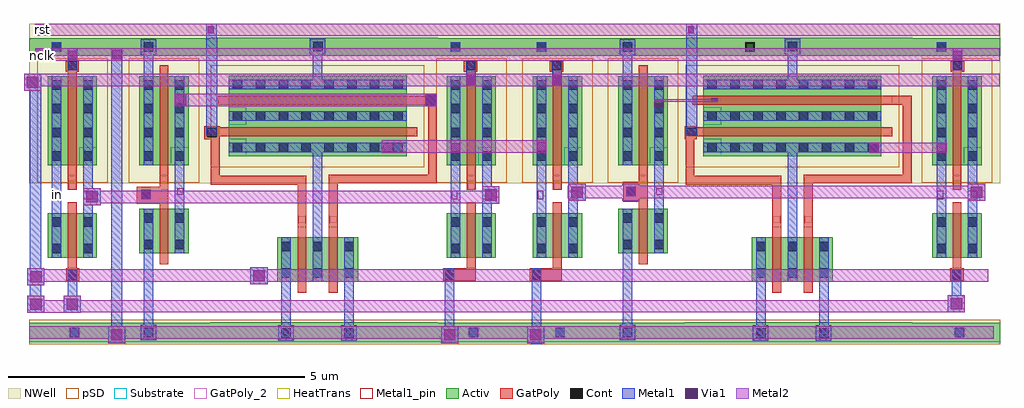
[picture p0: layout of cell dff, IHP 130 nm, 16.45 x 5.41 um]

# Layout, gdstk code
from math import pi, radians
import gdstk
lib = gdstk.Library(unit=1e-6, precision=5e-09)
def R(c, l, rs):  # rectangles x0, y0, x1, y1
    for r in rs: c.add(gdstk.rectangle(r[:2], r[2:], *l))
def A(c, l, x, y, w, h, nx, ny, dx, dy):  # array of equal rectangles
    R(c, l, [(x+i*dx, y+j*dy, x+i*dx+w, y+j*dy+h) for i in range(nx) for j in range(ny)])
Activ = (1, 0)
GatPoly = (5, 0)
GatPoly_2 = (5, 2)
Cont = (6, 0)
Metal1 = (8, 0)
Metal1_pin = (8, 2)
Metal2 = (10, 0)
pSD = (14, 0)
Via1 = (19, 0)
NWell = (31, 0)
Substrate = (40, 0)
HeatTrans = (51, 0)

nmos_5_1 = lib.new_cell('nmos$5$1')
R(nmos_5_1, Activ, [(0,0,0.3,0.3), (0,0,0.83,0.75), (0.53,0,0.83,0.3)])
R(nmos_5_1, GatPoly, [(0.34,-0.18,0.49,0.93)])
R(nmos_5_1, GatPoly_2, [(0.34,-0.18,0.49,0.93)])
R(nmos_5_1, Cont, [(0.07,0.07,0.23,0.23), (0.6,0.07,0.76,0.23), (0.07,0.52,0.23,0.68), (0.6,0.52,0.76,0.68)])
R(nmos_5_1, Metal1, [(0.07,0,0.23,0.75), (0.6,0,0.76,0.75)])
R(nmos_5_1, Metal1_pin, [(0.07,0,0.23,0.75), (0.6,0,0.76,0.75)])
R(nmos_5_1, HeatTrans, [(0.34,-0.18,0.49,0.93)])
nmos_5_1.add(gdstk.Label('nmos', (0.415,0.375), layer=63, texttype=0))
nmos_5_1.add(gdstk.Label('nmos', (0.415,0.375), layer=51, texttype=0))

pmos = lib.new_cell('pmos')
R(pmos, Activ, [(0,0,0.3,0.3), (0,0,0.83,1.5), (0.53,0,0.83,0.3)])
R(pmos, GatPoly, [(0.34,-0.18,0.49,1.68), (0.34,-0.18,0.49,1.68)])
A(pmos, Cont, 0.07, 0.07, 0.16, 0.16, 1, 4, 0, 0.4)
A(pmos, Cont, 0.6, 0.07, 0.16, 0.16, 1, 4, 0, 0.4)
R(pmos, Metal1, [(0.07,0,0.23,1.5), (0.07,0,0.23,1.5), (0.6,0,0.76,1.5), (0.6,0,0.76,1.5)])
R(pmos, pSD, [(-0.18,-0.3,1.01,1.8)])
R(pmos, NWell, [(-0.31,-0.31,1.14,1.81)])
R(pmos, Substrate, [(0.53,0,0.83,0.3)])
R(pmos, HeatTrans, [(0.34,-0.18,0.49,1.68)])
pmos.add(gdstk.Label('pmos', (0.415,0.75), layer=63, texttype=0))
pmos.add(gdstk.Label('pmos', (0.415,0.75), layer=51, texttype=0))

transmissiongate = lib.new_cell('transmissiongate')
R(transmissiongate, Activ, [(2.295,-2.62,3.745,-2.29), (2.315,2.205,3.745,2.505)])
R(transmissiongate, GatPoly, [(2.945,-0.055,3.095,0.185)])
R(transmissiongate, GatPoly_2, [(2.98,-0.43,3.09,-0.27), (2.96,-0.055,3.08,0.105)])
R(transmissiongate, Cont, [(2.98,-2.54,3.14,-2.38), (2.675,2.275,2.835,2.435)])
R(transmissiongate, Metal1, [(2.98,-2.54,3.14,-2.38), (2.98,-2.54,3.14,-2.38), (2.675,-0.445,2.835,-0.21), (3.205,-0.445,3.365,-0.21), (2.675,-0.21,2.835,0.365), (3.205,-0.21,3.365,0.365), (2.675,2.275,2.835,2.435)])
R(transmissiongate, Metal1_pin, [(2.98,-2.54,3.14,-2.38), (2.69,-0.21,2.785,-0.07), (3.205,-0.21,3.365,-0.07), (2.675,2.275,2.835,2.435)])
R(transmissiongate, pSD, [(2.295,-2.66,3.745,-2.245)])
R(transmissiongate, NWell, [(2.295,2.175,3.745,2.745)])
transmissiongate.add(gdstk.Reference(nmos_5_1, (2.605,-1.195)))
transmissiongate.add(gdstk.Reference(pmos, (2.605,0.365)))
transmissiongate.add(gdstk.Label('vdd', (2.745,2.38), layer=8, texttype=2))
transmissiongate.add(gdstk.Label('vss', (3.055,-2.46), layer=8, texttype=2))
transmissiongate.add(gdstk.Label('out', (3.285,-0.14), layer=8, texttype=2))
transmissiongate.add(gdstk.Label('in', (2.73,-0.14), layer=8, texttype=2))
transmissiongate.add(gdstk.Label('en', (3.015,-0.355), layer=5, texttype=2))
transmissiongate.add(gdstk.Label('noten', (3.025,0.02), layer=5, texttype=2))

nmos_1 = lib.new_cell('nmos$1')
R(nmos_1, Activ, [(0,0,0.3,0.3), (0,0,0.83,0.75), (0.53,0,0.83,0.3)])
R(nmos_1, GatPoly, [(0.34,-0.18,0.49,0.93)])
R(nmos_1, GatPoly_2, [(0.34,-0.18,0.49,0.93)])
R(nmos_1, Cont, [(0.07,0.07,0.23,0.23), (0.6,0.07,0.76,0.23), (0.07,0.52,0.23,0.68), (0.6,0.52,0.76,0.68)])
R(nmos_1, Metal1, [(0.07,0,0.23,0.75), (0.6,0,0.76,0.75)])
R(nmos_1, Metal1_pin, [(0.07,0,0.23,0.75), (0.6,0,0.76,0.75)])
R(nmos_1, HeatTrans, [(0.34,-0.18,0.49,0.93)])
nmos_1.add(gdstk.Label('nmos', (0.415,0.375), layer=63, texttype=0))
nmos_1.add(gdstk.Label('nmos', (0.415,0.375), layer=51, texttype=0))

pmos_2 = lib.new_cell('pmos$2')
R(pmos_2, Activ, [(0,0,0.3,0.3), (0,0,0.83,1.5), (0.53,0,0.83,0.3)])
R(pmos_2, GatPoly, [(0.34,-0.18,0.49,1.68), (0.34,-0.18,0.49,1.68)])
A(pmos_2, Cont, 0.07, 0.07, 0.16, 0.16, 1, 4, 0, 0.4)
A(pmos_2, Cont, 0.6, 0.07, 0.16, 0.16, 1, 4, 0, 0.4)
R(pmos_2, Metal1, [(0.07,0,0.23,1.5), (0.07,0,0.23,1.5), (0.6,0,0.76,1.5), (0.6,0,0.76,1.5)])
R(pmos_2, pSD, [(-0.18,-0.3,1.01,1.8)])
R(pmos_2, NWell, [(-0.31,-0.31,1.14,1.81)])
R(pmos_2, Substrate, [(0.53,0,0.83,0.3)])
R(pmos_2, HeatTrans, [(0.34,-0.18,0.49,1.68)])
pmos_2.add(gdstk.Label('pmos', (0.415,0.75), layer=63, texttype=0))
pmos_2.add(gdstk.Label('pmos', (0.415,0.75), layer=51, texttype=0))

inverter_1 = lib.new_cell('inverter$1')
R(inverter_1, Activ, [(-0.925,-2.62,0.525,-2.29), (-0.925,2.205,0.525,2.505)])
R(inverter_1, GatPoly, [(-0.275,-0.195,-0.125,0.185)])
R(inverter_1, GatPoly_2, [(-0.25,-0.14,-0.155,-0.04)])
R(inverter_1, Cont, [(-0.545,-2.535,-0.385,-2.375), (-0.545,-2.535,-0.385,-2.375), (-0.545,2.275,-0.385,2.435)])
R(inverter_1, Metal1, [(-0.595,-2.585,-0.335,-2.325), (-0.545,-2.325,-0.385,-0.845), (-0.015,-0.375,0.145,0.365), (-0.545,1.865,-0.385,2.275), (-0.595,2.225,-0.335,2.485)])
R(inverter_1, Metal1_pin, [(0.02,-0.135,0.12,-0.03)])
R(inverter_1, pSD, [(-0.925,-2.66,0.525,-2.245)])
R(inverter_1, NWell, [(-0.925,2.175,0.525,2.745)])
inverter_1.add(gdstk.Reference(nmos_1, (-0.615,-1.125)))
inverter_1.add(gdstk.Reference(pmos_2, (-0.615,0.365)))
inverter_1.add(gdstk.Label('vss', (-0.475,-2.43), layer=8, texttype=2))
inverter_1.add(gdstk.Label('vdd', (-0.465,2.355), layer=8, texttype=2))
inverter_1.add(gdstk.Label('out', (0.06,-0.09), layer=8, texttype=2))
inverter_1.add(gdstk.Label('in', (-0.205,-0.09), layer=5, texttype=2))

nmos_5_2 = lib.new_cell('nmos$5$2')
R(nmos_5_2, Activ, [(0,0,0.3,0.3), (0,0,0.83,0.75), (0.53,0,0.83,0.3)])
R(nmos_5_2, GatPoly, [(0.34,-0.18,0.49,0.93)])
R(nmos_5_2, GatPoly_2, [(0.34,-0.18,0.49,0.93)])
R(nmos_5_2, Cont, [(0.07,0.07,0.23,0.23), (0.6,0.07,0.76,0.23), (0.07,0.52,0.23,0.68), (0.6,0.52,0.76,0.68)])
R(nmos_5_2, Metal1, [(0.07,0,0.23,0.75), (0.6,0,0.76,0.75)])
R(nmos_5_2, Metal1_pin, [(0.07,0,0.23,0.75), (0.6,0,0.76,0.75)])
R(nmos_5_2, HeatTrans, [(0.34,-0.18,0.49,0.93)])
nmos_5_2.add(gdstk.Label('nmos', (0.415,0.375), layer=63, texttype=0))
nmos_5_2.add(gdstk.Label('nmos', (0.415,0.375), layer=51, texttype=0))

pmos_5_1 = lib.new_cell('pmos$5$1')
R(pmos_5_1, Activ, [(0,0,0.3,0.3), (0,0,0.83,3), (0.53,0,0.83,0.3)])
R(pmos_5_1, GatPoly, [(0.34,-0.18,0.49,3.18), (0.34,-0.18,0.49,3.18)])
A(pmos_5_1, Cont, 0.07, 0.07, 0.16, 0.16, 1, 7, 0, 0.385)
A(pmos_5_1, Cont, 0.6, 0.07, 0.16, 0.16, 1, 7, 0, 0.385)
R(pmos_5_1, Cont, [(0.07,2.77,0.23,2.93), (0.6,2.77,0.76,2.93)])
R(pmos_5_1, Metal1, [(0.07,0,0.23,3), (0.07,0,0.23,3), (0.6,0,0.76,3), (0.6,0,0.76,3)])
R(pmos_5_1, pSD, [(-0.18,-0.3,1.01,3.3)])
R(pmos_5_1, NWell, [(-0.31,-0.31,1.14,3.31)])
R(pmos_5_1, Substrate, [(0.53,0,0.83,0.3)])
R(pmos_5_1, HeatTrans, [(0.34,-0.18,0.49,3.18)])
pmos_5_1.add(gdstk.Label('pmos', (0.415,1.5), layer=63, texttype=0))
pmos_5_1.add(gdstk.Label('pmos', (0.415,1.5), layer=51, texttype=0))

norgate_1 = lib.new_cell('norgate$1')
R(norgate_1, Activ, [(-1.48,-2.5,2.355,-2.17), (-1.47,2.325,2.355,2.625)])
R(norgate_1, GatPoly, [(-0.01,-0.56,0.14,0.15), (0.52,-0.56,0.67,0.17), (-1.47,0.15,0.14,0.3), (0.52,0.17,2.19,0.32), (2.19,0.17,2.34,1.645), (-1.47,0.3,-1.32,1.135), (-1.47,0.965,-1.35,1.135), (2.01,1.495,2.19,1.645)])
R(norgate_1, GatPoly_2, [(0.005,-0.49,0.13,-0.38), (0.535,-0.49,0.66,-0.38)])
R(norgate_1, Cont, [(-0.28,-2.43,-0.12,-2.27), (-0.28,-2.43,-0.12,-2.27), (0.78,-2.43,0.94,-2.27), (0.78,-2.43,0.94,-2.27), (0.255,2.395,0.415,2.555)])
R(norgate_1, Metal1, [(-0.335,-2.48,-0.075,-2.22), (0.725,-2.48,0.985,-2.22), (-0.28,-2.43,-0.12,-0.74), (0.78,-2.43,0.94,-0.74), (0.25,-0.74,0.41,0.695), (0.25,1.915,0.41,2.345), (0.2,2.345,0.46,2.605)])
R(norgate_1, Metal1_pin, [(-0.25,-2.39,-0.17,-2.3), (0.81,-2.39,0.89,-2.3), (0.255,2.395,0.415,2.555)])
R(norgate_1, pSD, [(-1.48,-2.54,2.355,-2.125)])
R(norgate_1, NWell, [(-1.47,0.315,2.355,2.865), (-1.47,2.295,2.355,2.865)])
norgate_1.add(gdstk.Reference(nmos_5_2, (1.01,-0.74), rotation=pi))
norgate_1.add(gdstk.Reference(nmos_5_2, (-0.35,-1.49)))
norgate_1.add(gdstk.Reference(pmos_5_1, (-1.17,1.985), rotation=3*pi/2))
norgate_1.add(gdstk.Reference(pmos_5_1, (-1.17,1.455), rotation=3*pi/2))
norgate_1.add(gdstk.Label('vdd', (0.325,2.5), layer=8, texttype=2))
norgate_1.add(gdstk.Label('vss', (-0.22,-2.335), layer=8, texttype=2))
norgate_1.add(gdstk.Label('vss', (0.84,-2.335), layer=8, texttype=2))
norgate_1.add(gdstk.Label('b', (0.07,-0.44), layer=5, texttype=2))
norgate_1.add(gdstk.Label('a', (0.6,-0.44), layer=5, texttype=2))

dff = lib.new_cell('dff')
R(dff, Activ, [(-1.81,-2.62,14.55,-2.29), (-1.81,2.205,14.55,2.505)])
R(dff, GatPoly, [(-1.19,-1.585,-0.965,-1.375), (5.165,-1.585,5.39,-1.375), (5.39,-1.585,5.715,-1.375), (5.565,-1.585,5.715,-1.375), (6.625,-1.585,6.85,-1.375), (6.85,-1.585,7.16,-1.375), (7.01,-1.585,7.16,-1.375), (13.71,-1.585,13.935,-1.375), (0,-0.285,0.385,0), (8.2,-0.255,8.46,0.085), (1.14,0.8,1.345,1.015), (9.235,0.8,9.44,1.015), (-1.2,1.935,-0.975,2.125), (5.515,1.935,5.74,2.125), (6.96,1.935,7.185,2.125), (13.72,1.935,13.945,2.125)])
R(dff, Cont, [(-1.16,-1.565,-1,-1.405), (5.195,-1.565,5.355,-1.405), (6.655,-1.565,6.815,-1.405), (13.74,-1.565,13.9,-1.405), (0.08,-0.215,0.24,-0.055), (8.25,-0.165,8.41,-0.005), (1.185,0.83,1.345,0.99), (9.265,0.86,9.45,0.995), (4.875,1.375,5.035,1.535), (9.685,1.43,9.8,1.49), (-1.165,1.965,-1.005,2.125), (5.55,1.965,5.71,2.125), (6.995,1.965,7.155,2.125), (13.755,1.965,13.915,2.125), (10.255,2.275,10.415,2.435)])
R(dff, Metal1, [(6.655,-2.66,6.815,-1.375), (-0.48,-2.64,-0.19,-2.35), (5.13,-2.64,5.42,-2.35), (6.58,-2.64,6.87,-2.35), (-0.43,-2.35,-0.24,2.33), (5.195,-2.35,5.355,-1.375), (-1.845,-2.125,-1.555,-1.835), (-1.23,-2.125,-0.94,-1.835), (13.67,-2.12,13.96,-1.83), (-1.8,-1.835,-1.61,1.615), (-1.16,-1.835,-1,-1.405), (13.74,-1.83,13.9,-1.405), (-1.845,-1.665,-1.555,-1.375), (1.915,-1.645,2.205,-1.355), (-0.9,-0.315,-0.61,-0.025), (5.82,-0.285,6.11,0.005), (7.275,-0.24,7.565,0.05), (14.01,-0.24,14.3,0.05), (0.08,-0.215,0.24,-0.055), (8.25,-0.165,8.41,-0.005), (1.17,0.86,1.355,2.505), (9.265,0.86,9.45,2.505), (4.86,1.36,5.05,1.55), (9.685,1.43,9.8,1.49), (-1.9,1.615,-1.61,1.905), (5.55,1.695,5.71,2.125), (7.005,1.695,7.165,2.125), (-1.165,1.965,-1.005,2.33), (13.755,1.965,13.915,2.33), (1.17,2.505,1.35,2.745), (9.265,2.505,9.445,2.745), (-1.71,2.54,-1.475,2.75), (-1.71,2.54,-1.48,2.75)])
R(dff, Metal1_pin, [(-1.43,-0.21,-1.27,-0.065), (-1.71,2.12,-1.48,2.33), (-1.71,2.54,-1.48,2.75)])
R(dff, Metal2, [(-0.48,-2.64,-0.19,-2.35), (5.13,-2.64,5.42,-2.35), (6.58,-2.64,6.87,-2.35), (-1.81,-2.56,14.445,-2.35), (-1.845,-2.125,-1.555,-1.835), (-1.555,-2.125,-1.23,-1.915), (-1.23,-2.125,-0.94,-1.835), (-0.94,-2.12,13.67,-1.915), (13.67,-2.12,13.96,-1.83), (-1.845,-1.665,-1.555,-1.375), (1.915,-1.645,2.205,-1.355), (-1.845,-1.605,14.35,-1.395), (-0.9,-0.315,-0.61,-0.025), (5.82,-0.285,6.11,0.005), (-0.9,-0.28,5.99,-0.07), (7.275,-0.24,7.565,0.05), (8.18,-0.24,8.47,0.05), (14.01,-0.24,14.3,0.05), (7.265,-0.195,14.15,0.015), (4.13,0.57,6.905,0.78), (12.345,0.575,13.65,0.74), (0.645,1.355,5.06,1.565), (8.725,1.43,9.8,1.47), (-1.9,1.615,-1.61,1.905), (-1.61,1.695,14.545,1.905), (-1.71,2.12,14.545,2.33), (-1.71,2.54,14.545,2.75)])
R(dff, pSD, [(-1.81,-2.66,14.55,-2.245)])
R(dff, Via1, [(-0.43,-2.59,-0.24,-2.4), (5.18,-2.59,5.37,-2.4), (6.63,-2.59,6.82,-2.4), (-1.795,-2.075,-1.605,-1.885), (-1.18,-2.075,-0.99,-1.885), (13.72,-2.07,13.91,-1.88), (-1.795,-1.615,-1.605,-1.425), (1.965,-1.595,2.155,-1.405), (-0.85,-0.265,-0.66,-0.075), (5.875,-0.235,6.065,-0.045), (0.08,-0.215,0.24,-0.055), (7.325,-0.19,7.515,0), (14.06,-0.19,14.25,0), (8.25,-0.165,8.41,-0.005), (4.155,0.575,4.315,0.735), (5.295,0.575,5.455,0.735), (5.295,0.575,5.455,0.735), (12.35,0.575,12.51,0.735), (13.49,0.575,13.65,0.735), (6.74,0.595,6.9,0.755), (8.725,1.335,8.885,1.47), (4.86,1.36,5.05,1.55), (0.645,1.375,0.835,1.565), (9.685,1.43,9.8,1.49), (-1.85,1.665,-1.66,1.855), (5.55,1.72,5.71,1.88), (7.005,1.72,7.165,1.88), (-1.71,2.12,-1.475,2.33), (-1.165,2.135,-1.005,2.295), (13.755,2.135,13.915,2.295), (-0.415,2.15,-0.255,2.31), (-1.71,2.54,-1.475,2.75), (1.2,2.585,1.295,2.705), (9.295,2.585,9.39,2.705)])
R(dff, NWell, [(-1.81,0.055,14.55,2.75), (-1.81,2.205,14.55,2.745)])
dff.add(gdstk.Reference(transmissiongate, (2.62,0)))
dff.add(gdstk.Reference(transmissiongate, (4.07,0)))
dff.add(gdstk.Reference(inverter_1, (8.735,0)))
dff.add(gdstk.Reference(transmissiongate, (-4.105,0)))
dff.add(gdstk.Reference(norgate_1, (10.72,-0.115)))
dff.add(gdstk.Reference(inverter_1, (0.66,0)))
dff.add(gdstk.Reference(transmissiongate, (10.805,0)))
dff.add(gdstk.Reference(norgate_1, (2.72,-0.115)))
dff.add(gdstk.Label('rst', (-1.595,2.645), layer=8, texttype=2))
dff.add(gdstk.Label('in', (-1.335,-0.135), layer=8, texttype=2))
dff.add(gdstk.Label('nclk', (-1.595,2.21), layer=8, texttype=2))

lib.write_gds('dff.gds')
